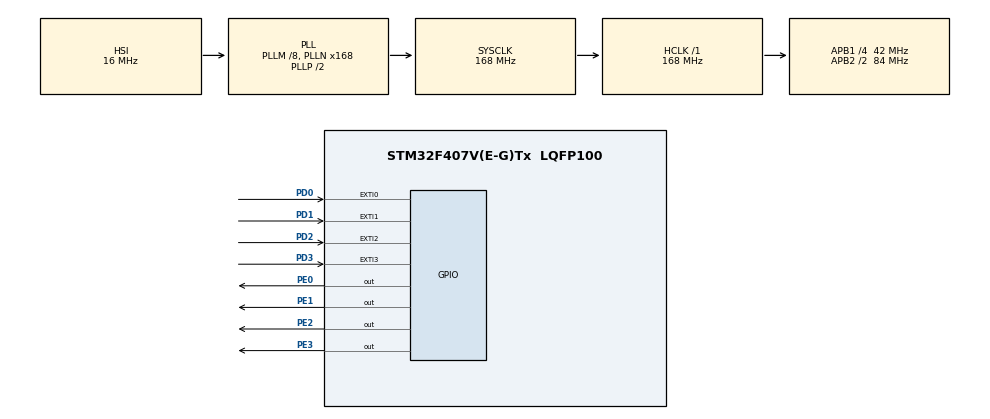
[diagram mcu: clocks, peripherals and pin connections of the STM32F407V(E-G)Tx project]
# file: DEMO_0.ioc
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FREERTOS.Tasks01=defaultTask,24,128,StartDefaultTask,Default,NULL,Dynamic,NULL,NULL
FREERTOS.configENABLE_FPU=1
FREERTOS.configUSE_NEWLIB_REENTRANT=1
Mcu.Family=STM32F4
Mcu.Name=STM32F407V(E-G)Tx
Mcu.Package=LQFP100
NVIC.EXTI0_IRQn=true\:5\:0\:false\:false\:true\:true\:true\:true
NVIC.EXTI1_IRQn=true\:5\:0\:false\:false\:true\:true\:true\:true
NVIC.EXTI2_IRQn=true\:5\:0\:false\:false\:true\:true\:true\:true
NVIC.EXTI3_IRQn=true\:5\:0\:false\:false\:true\:true\:true\:true
NVIC.PriorityGroup=NVIC_PRIORITYGROUP_4
NVIC.TIM1_UP_TIM10_IRQn=true\:15\:0\:false\:false\:true\:false\:false\:true
NVIC.TIM2_IRQn=true\:5\:0\:false\:false\:true\:true\:true\:true
NVIC.TimeBase=TIM1_UP_TIM10_IRQn
NVIC.TimeBaseIP=TIM1
PA13.Mode=Trace_Asynchronous_SW
PA13.Signal=SYS_JTMS-SWDIO
PA14.Mode=Trace_Asynchronous_SW
PA14.Signal=SYS_JTCK-SWCLK
PB3.Mode=Trace_Asynchronous_SW
PB3.Signal=SYS_JTDO-SWO
PD0.GPIO_ModeDefaultEXTI=GPIO_MODE_IT_RISING_FALLING
PD0.Signal=GPXTI0
PD1.GPIO_ModeDefaultEXTI=GPIO_MODE_IT_RISING_FALLING
PD1.Signal=GPXTI1
PD2.GPIO_ModeDefaultEXTI=GPIO_MODE_IT_RISING_FALLING
PD2.Signal=GPXTI2
PD3.GPIO_ModeDefaultEXTI=GPIO_MODE_IT_RISING_FALLING
PD3.Signal=GPXTI3
PE0.Signal=GPIO_Output
PE1.Signal=GPIO_Output
PE2.Signal=GPIO_Output
PE3.Signal=GPIO_Output
PH0-OSC_IN.Mode=HSE-External-Clock-Source
PH0-OSC_IN.Signal=RCC_OSC_IN
PH1-OSC_OUT.Mode=HSE-External-Clock-Source
PH1-OSC_OUT.Signal=RCC_OSC_OUT
ProjectManager.HeapSize=0x200
ProjectManager.StackSize=0x400
ProjectManager.TargetToolchain=STM32CubeIDE
RCC.48MHZClocksFreq_Value=84000000
RCC.AHBFreq_Value=168000000
RCC.APB1CLKDivider=RCC_HCLK_DIV4
RCC.APB1Freq_Value=42000000
RCC.APB1TimFreq_Value=84000000
RCC.APB2CLKDivider=RCC_HCLK_DIV2
RCC.APB2Freq_Value=84000000
RCC.APB2TimFreq_Value=168000000
RCC.CortexFreq_Value=168000000
RCC.HCLKFreq_Value=168000000
RCC.HSE_VALUE=16000000
RCC.HSI_VALUE=16000000
RCC.LSE_VALUE=32768
RCC.PLLM=8
RCC.PLLN=168
RCC.SYSCLKFreq_VALUE=168000000
RCC.SYSCLKSource=RCC_SYSCLKSOURCE_PLLCLK
RCC.VCOOutputFreq_Value=336000000
TIM2.AutoReloadPreload=TIM_AUTORELOAD_PRELOAD_ENABLE
TIM2.Period=99
TIM2.Prescaler=167
VP_FREERTOS_VS_CMSIS_V2.Mode=CMSIS_V2
VP_SYS_VS_tim1.Mode=TIM1
VP_TIM2_VS_ClockSourceINT.Mode=Internal
board=custom

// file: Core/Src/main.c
/* USER CODE BEGIN Header */
/**
  ******************************************************************************
  * @file           : main.c
  * @brief          : Main program body
  ******************************************************************************
  * @attention
  *
  * Copyright (c) 2022 STMicroelectronics.
  * All rights reserved.
  *
  * This software is licensed under terms that can be found in the LICENSE file
  * in the root directory of this software component.
  * If no LICENSE file comes with this software, it is provided AS-IS.
  *
  ******************************************************************************
  */
/* USER CODE END Header */
#include "main.h"
#include "cmsis_os.h"

/* USER CODE BEGIN Includes */
#include <stdio.h>
#include "motor.hpp"
#include "PWM.hpp"
/* USER CODE END Includes */

/* USER CODE BEGIN PM */
extern MOTOR motor;
/* USER CODE END PM */

TIM_HandleTypeDef htim2;

/* Definitions for defaultTask */
osThreadId_t defaultTaskHandle;
const osThreadAttr_t defaultTask_attributes = {
  .name = "defaultTask",
  .stack_size = 128 * 4,
  .priority = (osPriority_t) osPriorityNormal,
};

void SystemClock_Config(void);
static void MX_GPIO_Init(void);
static void MX_TIM2_Init(void);
void StartDefaultTask(void *argument);

int main(void)
{

  /* MCU Configuration--------------------------------------------------------*/

  /* Reset of all peripherals, Initializes the Flash interface and the Systick. */
  HAL_Init();

  /* USER CODE BEGIN Init */
  PWM_Init();
  /* USER CODE END Init */

  /* Configure the system clock */
  SystemClock_Config();

  /* Initialize all configured peripherals */
  MX_GPIO_Init();
  MX_TIM2_Init();

  /* Init scheduler */
  osKernelInitialize();

  /* USER CODE BEGIN RTOS_QUEUES */
  /* add queues, ... */
  HAL_TIM_Base_Start_IT(&htim2);
  /* USER CODE END RTOS_QUEUES */

  /* Create the thread(s) */
  /* creation of defaultTask */
  defaultTaskHandle = osThreadNew(StartDefaultTask, NULL, &defaultTask_attributes);

  /* Start scheduler */
  osKernelStart();

  /* We should never get here as control is now taken by the scheduler */
  /* Infinite loop */
  while (1)
  {

  }
}

void SystemClock_Config(void)
{
  RCC_OscInitTypeDef RCC_OscInitStruct = {0};
  RCC_ClkInitTypeDef RCC_ClkInitStruct = {0};

  /** Configure the main internal regulator output voltage
  */
  __HAL_RCC_PWR_CLK_ENABLE();
  __HAL_PWR_VOLTAGESCALING_CONFIG(PWR_REGULATOR_VOLTAGE_SCALE1);
  /** Initializes the RCC Oscillators according to the specified parameters
  * in the RCC_OscInitTypeDef structure.
  */
  RCC_OscInitStruct.OscillatorType = RCC_OSCILLATORTYPE_HSI;
  RCC_OscInitStruct.HSIState = RCC_HSI_ON;
  RCC_OscInitStruct.HSICalibrationValue = RCC_HSICALIBRATION_DEFAULT;
  RCC_OscInitStruct.PLL.PLLState = RCC_PLL_ON;
  RCC_OscInitStruct.PLL.PLLSource = RCC_PLLSOURCE_HSI;
  RCC_OscInitStruct.PLL.PLLM = 8;
  RCC_OscInitStruct.PLL.PLLN = 168;
  RCC_OscInitStruct.PLL.PLLP = RCC_PLLP_DIV2;
  RCC_OscInitStruct.PLL.PLLQ = 4;
  if (HAL_RCC_OscConfig(&RCC_OscInitStruct) != HAL_OK)
  {
    Error_Handler();
  }
  /** Initializes the CPU, AHB and APB buses clocks
  */
  RCC_ClkInitStruct.ClockType = RCC_CLOCKTYPE_HCLK|RCC_CLOCKTYPE_SYSCLK
                              |RCC_CLOCKTYPE_PCLK1|RCC_CLOCKTYPE_PCLK2;
  RCC_ClkInitStruct.SYSCLKSource = RCC_SYSCLKSOURCE_PLLCLK;
  RCC_ClkInitStruct.AHBCLKDivider = RCC_SYSCLK_DIV1;
  RCC_ClkInitStruct.APB1CLKDivider = RCC_HCLK_DIV4;
  RCC_ClkInitStruct.APB2CLKDivider = RCC_HCLK_DIV2;

  if (HAL_RCC_ClockConfig(&RCC_ClkInitStruct, FLASH_LATENCY_5) != HAL_OK)
  {
    Error_Handler();
  }
}

static void MX_TIM2_Init(void)
{

  TIM_ClockConfigTypeDef sClockSourceConfig = {0};
  TIM_MasterConfigTypeDef sMasterConfig = {0};

  htim2.Instance = TIM2;
  htim2.Init.Prescaler = 167;
  htim2.Init.CounterMode = TIM_COUNTERMODE_UP;
  htim2.Init.Period = 99;
  htim2.Init.ClockDivision = TIM_CLOCKDIVISION_DIV1;
  htim2.Init.AutoReloadPreload = TIM_AUTORELOAD_PRELOAD_ENABLE;
  if (HAL_TIM_Base_Init(&htim2) != HAL_OK)
  {
    Error_Handler();
  }
  sClockSourceConfig.ClockSource = TIM_CLOCKSOURCE_INTERNAL;
  if (HAL_TIM_ConfigClockSource(&htim2, &sClockSourceConfig) != HAL_OK)
  {
    Error_Handler();
  }
  sMasterConfig.MasterOutputTrigger = TIM_TRGO_RESET;
  sMasterConfig.MasterSlaveMode = TIM_MASTERSLAVEMODE_DISABLE;
  if (HAL_TIMEx_MasterConfigSynchronization(&htim2, &sMasterConfig) != HAL_OK)
  {
    Error_Handler();
  }

}

static void MX_GPIO_Init(void)
{
  GPIO_InitTypeDef GPIO_InitStruct = {0};

  /* GPIO Ports Clock Enable */
  __HAL_RCC_GPIOE_CLK_ENABLE();
  __HAL_RCC_GPIOH_CLK_ENABLE();
  __HAL_RCC_GPIOA_CLK_ENABLE();
  __HAL_RCC_GPIOD_CLK_ENABLE();
  __HAL_RCC_GPIOB_CLK_ENABLE();

  /*Configure GPIO pin Output Level */
  HAL_GPIO_WritePin(GPIOE, GPIO_PIN_2|GPIO_PIN_3|GPIO_PIN_0|GPIO_PIN_1, GPIO_PIN_RESET);

  /*Configure GPIO pins : PE2 PE3 PE0 PE1 */
  GPIO_InitStruct.Pin = GPIO_PIN_2|GPIO_PIN_3|GPIO_PIN_0|GPIO_PIN_1;
  GPIO_InitStruct.Mode = GPIO_MODE_OUTPUT_PP;
  GPIO_InitStruct.Pull = GPIO_NOPULL;
  GPIO_InitStruct.Speed = GPIO_SPEED_FREQ_LOW;
  HAL_GPIO_Init(GPIOE, &GPIO_InitStruct);

  /*Configure GPIO pins : PD0 PD1 PD2 PD3 */
  GPIO_InitStruct.Pin = GPIO_PIN_0|GPIO_PIN_1|GPIO_PIN_2|GPIO_PIN_3;
  GPIO_InitStruct.Mode = GPIO_MODE_IT_RISING_FALLING;
  GPIO_InitStruct.Pull = GPIO_NOPULL;
  HAL_GPIO_Init(GPIOD, &GPIO_InitStruct);

  /* EXTI interrupt init*/
  HAL_NVIC_SetPriority(EXTI0_IRQn, 5, 0);
  HAL_NVIC_EnableIRQ(EXTI0_IRQn);

  HAL_NVIC_SetPriority(EXTI1_IRQn, 5, 0);
  HAL_NVIC_EnableIRQ(EXTI1_IRQn);

  HAL_NVIC_SetPriority(EXTI2_IRQn, 5, 0);
  HAL_NVIC_EnableIRQ(EXTI2_IRQn);

  HAL_NVIC_SetPriority(EXTI3_IRQn, 5, 0);
  HAL_NVIC_EnableIRQ(EXTI3_IRQn);

}

void StartDefaultTask(void *argument)
{
  /* USER CODE BEGIN 5 */
  /* Infinite loop */
	static int temp=0;
  for(;;)
  {
	  ITM_SendChar('H');
	  ITM_SendChar('e');
	  ITM_SendChar('l');
	  ITM_SendChar('l');
	  ITM_SendChar('o');
	  ITM_SendChar('\n');
	  //motor.SetPosition(temp+=1281);
    osDelay(100);
  }
  /* USER CODE END 5 */
}

void HAL_TIM_PeriodElapsedCallback(TIM_HandleTypeDef *htim)
{
  if (htim->Instance == TIM1) {
    HAL_IncTick();
  }
  /* USER CODE BEGIN Callback 1 */
  else if(htim->Instance==TIM2){
	  PWM_Update();
  }
  /* USER CODE END Callback 1 */
}

void Error_Handler(void)
{
  __disable_irq();
  while (1)
  {
  }
}
